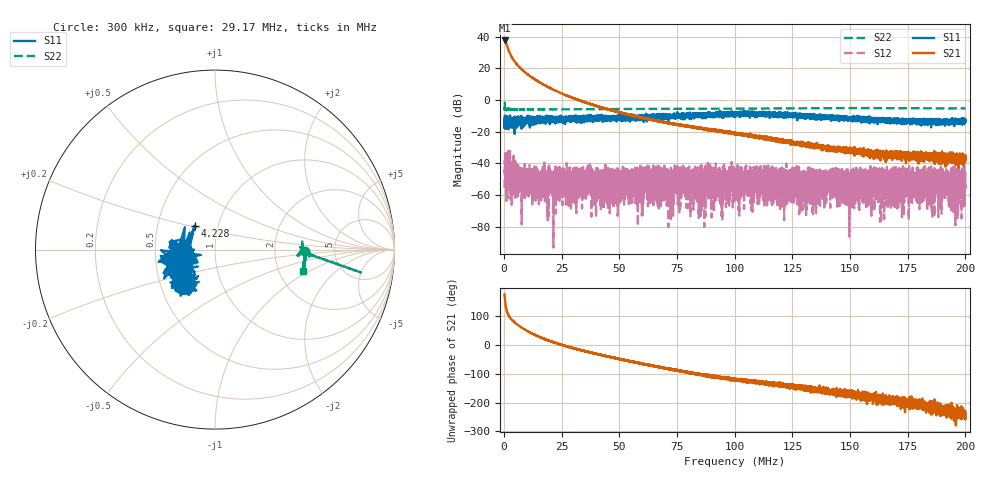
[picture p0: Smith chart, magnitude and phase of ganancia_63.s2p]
# Hz S DB R 50
! CMT, M5065, 19127446, 24.2.4/2
! Date: 11/8/2024 3:27:09 PM
! Data: Format (Calibration Info)
! Freq	S11:dB/Ang(F2)	S21:dB/Ang(F2)	S12:dB/Ang(F2)	S22:dB/Ang(F2)
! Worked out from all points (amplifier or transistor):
!   9000 points, 300 kHz to 200 MHz, reference 50 ohm
!   highest |S21| = 37.6 dB at 388.8 kHz (marker M1)
!   |S21| within 3 dB of that: start of sweep to 1.288 MHz
!   unconditionally stable (mu >= 1): 1.311 MHz to 1.628 MHz; 2.163 MHz to 2.623 MHz; 2.634 MHz to end of sweep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
!   at 33.59 MHz: K = 107.68, MAG = 0.7 dB, |S12| = -48.8 dB
!   at 100.2 MHz: K = 1471.97, MAG = -18.6 dB, |S12| = -52.7 dB
!   at 200 MHz: K = 10965.77, MAG = -35.2 dB, |S12| = -53.3 dB
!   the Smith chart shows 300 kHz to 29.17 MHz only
!   S11 on the Smith chart (normalised r, x): 300 kHz: 0.64, -0.05; 4.228 MHz: 0.77, +0.21; 29.17 MHz: 0.61, -0.29
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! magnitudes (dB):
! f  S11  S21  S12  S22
! 300 kHz  -13.1  37.5  -55.7  -6.0
! 388.8 kHz  -18.0  37.6  -38.0  -1.7
! 1.321 MHz  -15.4  34.4  -46.4  -6.1
! 4.228 MHz  -15.1  25.0  -51.2  -6.1
! 13.5 MHz  -11.9  12.9  -55.0  -5.9
! 29.17 MHz  -10.6  1.7  -53.6  -5.9
! 33.59 MHz  -14.1  -0.8  -48.8  -5.9
! 38.85 MHz  -11.7  -3.2  -44.8  -5.8
! 41.69 MHz  -10.7  -4.5  -51.5  -5.8
! 48.37 MHz  -12.6  -7.3  -48.7  -5.8
! 55.93 MHz  -11.7  -10.0  -53.6  -5.7
! 59.57 MHz  -10.5  -11.1  -55.9  -5.7
! 61.53 MHz  -10.0  -11.7  -49.8  -5.7
! 66.87 MHz  -9.5  -13.1  -52.6  -5.7
! 95.77 MHz  -9.0  -19.8  -49.2  -5.6
! 100.2 MHz  -9.4  -20.6  -52.7  -5.5
! 111.8 MHz  -8.9  -23.6  -47.8  -5.5
! 120 MHz  -8.5  -25.5  -56.4  -5.4
! 126.9 MHz  -10.0  -27.0  -58.9  -5.3
! 133.4 MHz  -10.7  -28.1  -52.5  -5.3
! 166.7 MHz  -12.7  -36.1  -45.4  -5.2
! 200 MHz  -13.0  -37.0  -53.3  -5.4
